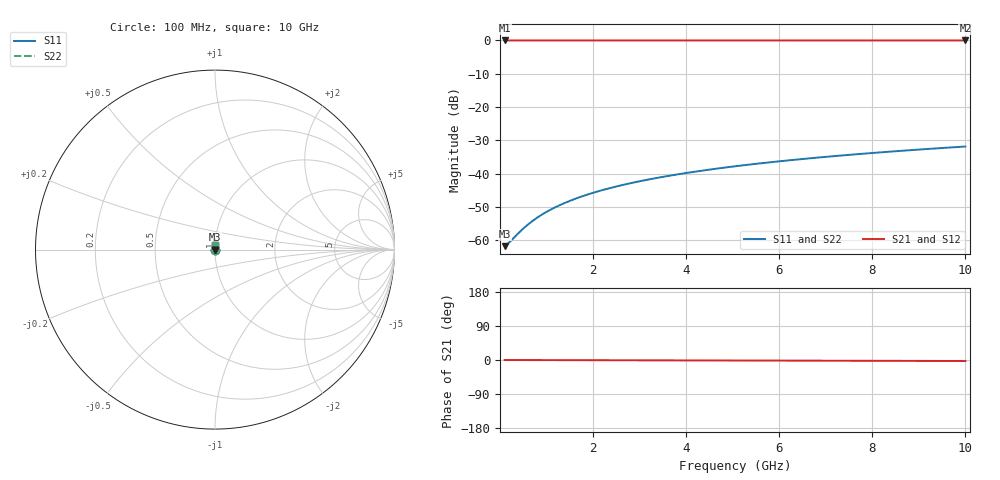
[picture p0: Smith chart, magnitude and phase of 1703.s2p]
# Hz S RI R 50.00
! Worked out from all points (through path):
!   100 points, 100 MHz to 10 GHz, reference 50 ohm
!   highest |S21| = -0.01 dB at 100 MHz (marker M1); lowest = 0.0 dB at 10 GHz (marker M2)
!   lowest |S11| = -61.7 dB at 100 MHz (marker M3), VSWR 1.00, Z = 50.1 + j0.0255 ohm
!   |S11| at or under -10 dB: start of sweep to end of sweep
!   |S22| runs from -61.7 to -31.8 dB; largest |S21 - S12| = 0
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1e8  0.000778 0.000255  0.9992 -0.000467  0.9992 -0.000467  0.000778 0.000255
2e8  0.000783 0.00051  0.9992 -0.000934  0.9992 -0.000934  0.000783 0.00051
4e8  0.000791 0.00102  0.9992 -0.00187  0.9992 -0.00187  0.000791 0.00102
5e8  0.000795 0.00127  0.9992 -0.00234  0.9992 -0.00234  0.000795 0.00127
6e8  0.000798 0.00153  0.9992 -0.0028  0.9992 -0.0028  0.000798 0.00153
7e8  0.000802 0.00178  0.9992 -0.00327  0.9992 -0.00327  0.000802 0.00178
9e8  0.000809 0.00229  0.9992 -0.00421  0.9992 -0.00421  0.000809 0.00229
1.1e9  0.000817 0.0028  0.9992 -0.00514  0.9992 -0.00514  0.000817 0.0028
1.3e9  0.000826 0.00331  0.9992 -0.00607  0.9992 -0.00607  0.000826 0.00331
1.5e9  0.000835 0.00382  0.9992 -0.00701  0.9992 -0.00701  0.000835 0.00382
1.8e9  0.00085 0.00459  0.9991 -0.00841  0.9991 -0.00841  0.00085 0.00459
2.1e9  0.000867 0.00535  0.9991 -0.00981  0.9991 -0.00981  0.000867 0.00535
2.5e9  0.000893 0.00637  0.9991 -0.0117  0.9991 -0.0117  0.000893 0.00637
2.9e9  0.000922 0.00739  0.9991 -0.0136  0.9991 -0.0136  0.000922 0.00739
3.4e9  0.000963 0.00866  0.999 -0.0159  0.999 -0.0159  0.000963 0.00866
4.2e9  0.00104 0.0107  0.9989 -0.0196  0.9989 -0.0196  0.00104 0.0107
5.1e9  0.00115 0.013  0.9988 -0.0239  0.9988 -0.0239  0.00115 0.013
5.9e9  0.00126 0.015  0.9987 -0.0276  0.9987 -0.0276  0.00126 0.015
6.7e9  0.00138 0.0171  0.9985 -0.0313  0.9985 -0.0313  0.00138 0.0171
7.5e9  0.00153 0.0191  0.9983 -0.0351  0.9983 -0.0351  0.00153 0.0191
8.4e9  0.0017 0.0214  0.9981 -0.0393  0.9981 -0.0393  0.0017 0.0214
1e10  0.00207 0.0255  0.9977 -0.0468  0.9977 -0.0468  0.00207 0.0255
